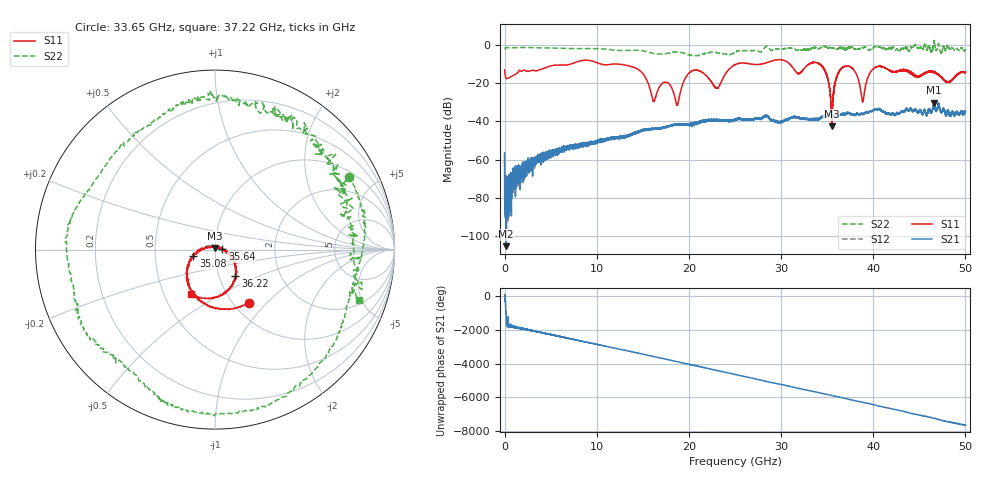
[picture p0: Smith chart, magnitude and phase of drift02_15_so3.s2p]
!Created with skrf (http://scikit-rf.org).
# Hz S RI R 50.0
!freq ReS11 ImS11 ReS21 ImS21 ReS12 ImS12 ReS22 ImS22
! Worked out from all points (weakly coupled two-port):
!   10001 points, 300 kHz to 50 GHz, reference 50 ohm
!   highest |S21| = -30.23 dB at 46.63 GHz (marker M1); lowest = -105.2 dB at 145.3 MHz (marker M2)
!   lowest |S11| = -42.4 dB at 35.51 GHz (marker M3), VSWR 1.02, Z = 50.2 + j0.739 ohm
!   |S11| at or under -10 dB: start of sweep to 7.177 GHz; 12.33 GHz to 25.17 GHz (12.84 GHz wide, 68.5 % of centre); 34.2 GHz to end of sweep (the widest 3 of 17)
!   |S22| runs from -5.7 to 2.3 dB; largest |S21 - S12| = 0.0037
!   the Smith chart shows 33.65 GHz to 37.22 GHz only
!   S11 on the Smith chart (normalised r, x): 33.65 GHz: 1.18, -0.79; 35.08 GHz: 0.78, -0.06; 35.64 GHz: 1.09, +0.00; 36.22 GHz: 1.20, -0.37; 37.22 GHz: 0.68, -0.37
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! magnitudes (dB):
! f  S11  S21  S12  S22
! 300 kHz  -13.0  -56.4  -56.6  -2.0
! 145.3 MHz  -17.4  -105.2  -69.7  -1.5
! 8.335 GHz  -8.2  -52.1  -52.2  -1.9
! 14.03 GHz  -11.7  -46.2  -46.5  -2.8
! 16.14 GHz  -29.3  -43.9  -44.0  -4.5
! 16.67 GHz  -23.2  -43.5  -43.5  -4.7
! 18.74 GHz  -31.5  -41.6  -41.6  -3.7
! 20.24 GHz  -13.9  -40.7  -41.3  -5.4
! 23.04 GHz  -22.7  -39.1  -39.1  -4.1
! 25 GHz  -10.3  -38.7  -39.3  -3.9
! 33.34 GHz  -9.3  -38.6  -38.9  -1.6
! 33.65 GHz  -9.1  -38.8  -38.6  -1.4
! 35.08 GHz  -18.0  -37.1  -37.2  -1.7
! 35.51 GHz  -42.4  -37.0  -37.0  -1.8
! 35.64 GHz  -27.6  -37.1  -36.8  -1.6
! 36.22 GHz  -14.6  -36.7  -36.7  -1.8
! 37.22 GHz  -11.0  -35.5  -35.5  -1.4
! 38.86 GHz  -29.8  -36.3  -36.1  -1.2
! 39.96 GHz  -12.7  -34.3  -34.5  -1.9
! 41.67 GHz  -13.1  -35.4  -35.6  -1.9
! 46.63 GHz  -14.3  -30.2  -30.5  1.9
! 50 GHz  -14.4  -34.5  -34.3  -2.6
